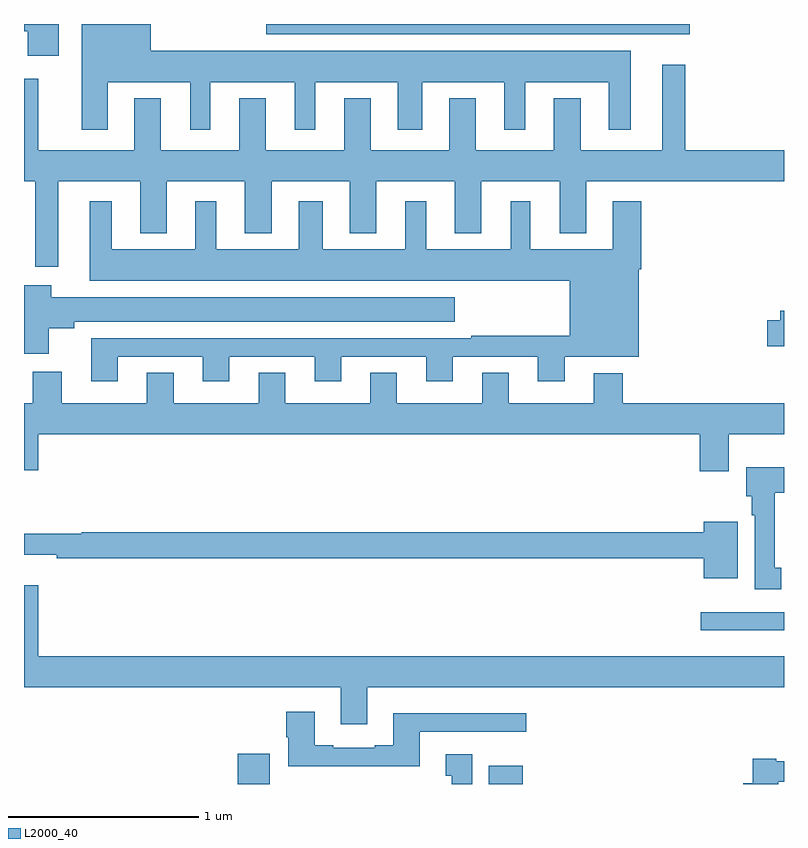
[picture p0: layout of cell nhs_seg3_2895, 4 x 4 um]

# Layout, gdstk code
import gdstk
lib = gdstk.Library(unit=1e-6, precision=1e-09)
def R(c, l, rs):  # rectangles x0, y0, x1, y1
    for r in rs: c.add(gdstk.rectangle(r[:2], r[2:], *l))
def P(c, l, *ps):  # polygons
    for p in ps: c.add(gdstk.Polygon(p, *l))
L2000_40 = (2000, 40)

nhs_seg3_2895 = lib.new_cell('nhs_seg3_2895')
R(nhs_seg3_2895, L2000_40, [(262.124,708.4,262.294,708.559), (263.447,708.4,263.626,708.496), (264.561,709.208,265,709.305), (262.275,712.346,264.505,712.4)])
P(nhs_seg3_2895, L2000_40, [(261.184,712.4),(261,712.4),(261,712.363),(261.019,712.363),(261.019,712.233),(261.184,712.233)],
  [(261.442,712.094),(261.875,712.094),(261.875,711.843),(261.979,711.843),(261.979,712.094),(262.424,712.094),(262.424,711.843),(262.534,711.843),(262.534,712.094),(262.967,712.094),(262.967,711.843),(263.095,711.843),(263.095,712.094),(263.528,712.094),(263.528,711.843),(263.638,711.843),(263.638,712.094),(264.077,712.094),(264.077,711.843),(264.193,711.843),(264.193,712.258),(261.667,712.258),(261.667,712.4),(261.305,712.4),(261.305,711.843),(261.442,711.843)],
  [(261.181,711.572),(261.611,711.572),(261.611,711.299),(261.751,711.299),(261.751,711.572),(262.163,711.572),(262.163,711.299),(262.303,711.299),(262.303,711.572),(262.715,711.572),(262.715,711.299),(262.855,711.299),(262.855,711.572),(263.267,711.572),(263.267,711.299),(263.407,711.299),(263.407,711.572),(263.819,711.572),(263.819,711.299),(263.959,711.299),(263.959,711.572),(265,711.572),(265,711.736),(264.481,711.736),(264.481,712.186),(264.359,712.186),(264.359,711.736),(263.929,711.736),(263.929,712.009),(263.789,712.009),(263.789,711.736),(263.377,711.736),(263.377,712.009),(263.237,712.009),(263.237,711.736),(262.825,711.736),(262.825,712.009),(262.685,712.009),(262.685,711.736),(262.273,711.736),(262.273,712.009),(262.133,712.009),(262.133,711.736),(261.721,711.736),(261.721,712.009),(261.581,712.009),(261.581,711.736),(261.076,711.736),(261.076,712.111),(261,712.111),(261,711.572),(261.06,711.572),(261.06,711.123),(261.181,711.123)],
  [(261.493,710.649),(261.941,710.649),(261.941,710.52),(262.081,710.52),(262.081,710.649),(262.529,710.649),(262.529,710.52),(262.669,710.52),(262.669,710.649),(263.117,710.649),(263.117,710.52),(263.257,710.52),(263.257,710.649),(263.705,710.649),(263.705,710.52),(263.845,710.52),(263.845,710.648),(264.235,710.648),(264.235,711.11),(264.248,711.11),(264.248,711.466),(264.098,711.466),(264.098,711.214),(263.665,711.214),(263.665,711.466),(263.561,711.466),(263.561,711.214),(263.116,711.214),(263.116,711.466),(263.006,711.466),(263.006,711.214),(262.573,711.214),(262.573,711.466),(262.445,711.466),(262.445,711.214),(262.012,711.214),(262.012,711.466),(261.902,711.466),(261.902,711.214),(261.463,711.214),(261.463,711.466),(261.347,711.466),(261.347,711.05),(263.873,711.05),(263.873,710.758),(263.353,710.758),(263.353,710.745),(261.353,710.745),(261.353,710.52),(261.493,710.52)],
  [(261.13,710.798),(261.265,710.798),(261.265,710.834),(263.266,710.834),(263.266,710.962),(261.143,710.962),(261.143,711.025),(261,711.025),(261,710.664),(261.13,710.664)],
  [(265,710.892),(264.981,710.892),(264.981,710.84),(264.912,710.84),(264.912,710.705),(265,710.705)],
  [(264.709,710.24),(265,710.24),(265,710.404),(264.152,710.404),(264.152,710.563),(263.999,710.563),(263.999,710.404),(263.551,710.404),(263.551,710.564),(263.411,710.564),(263.411,710.404),(262.963,710.404),(262.963,710.564),(262.823,710.564),(262.823,710.404),(262.375,710.404),(262.375,710.564),(262.235,710.564),(262.235,710.404),(261.787,710.404),(261.787,710.564),(261.647,710.564),(261.647,710.404),(261.199,710.404),(261.199,710.569),(261.047,710.569),(261.047,710.404),(261,710.404),(261,710.052),(261.076,710.052),(261.076,710.24),(264.557,710.24),(264.557,710.046),(264.709,710.046)],
  [(264.985,709.538),(264.952,709.538),(264.952,709.934),(265,709.934),(265,710.068),(264.8,710.068),(264.8,709.914),(264.83,709.914),(264.83,709.814),(264.845,709.814),(264.845,709.425),(264.985,709.425)],
  [(264.757,709.78),(264.578,709.78),(264.578,709.724),(261.305,709.724),(261.305,709.717),(261,709.717),(261,709.607),(261.172,709.607),(261.172,709.588),(264.578,709.588),(264.578,709.484),(264.757,709.484)],
  [(262.807,708.908),(265,708.908),(265,709.072),(261.076,709.072),(261.076,709.447),(261,709.447),(261,708.908),(262.667,708.908),(262.667,708.714),(262.807,708.714)],
  [(263.083,708.675),(263.644,708.675),(263.644,708.772),(262.943,708.772),(262.943,708.604),(262.847,708.604),(262.847,708.591),(262.627,708.591),(262.627,708.604),(262.531,708.604),(262.531,708.781),(262.379,708.781),(262.379,708.646),(262.391,708.646),(262.391,708.494),(263.083,708.494)],
  [(263.359,708.556),(263.219,708.556),(263.219,708.443),(263.252,708.443),(263.252,708.4),(263.359,708.4)],
  [(264.971,708.411),(265,708.411),(265,708.519),(264.958,708.519),(264.958,708.532),(264.835,708.532),(264.835,708.403),(264.785,708.403),(264.785,708.4),(264.971,708.4)])

lib.write_gds('nhs_seg3_2895.gds')
